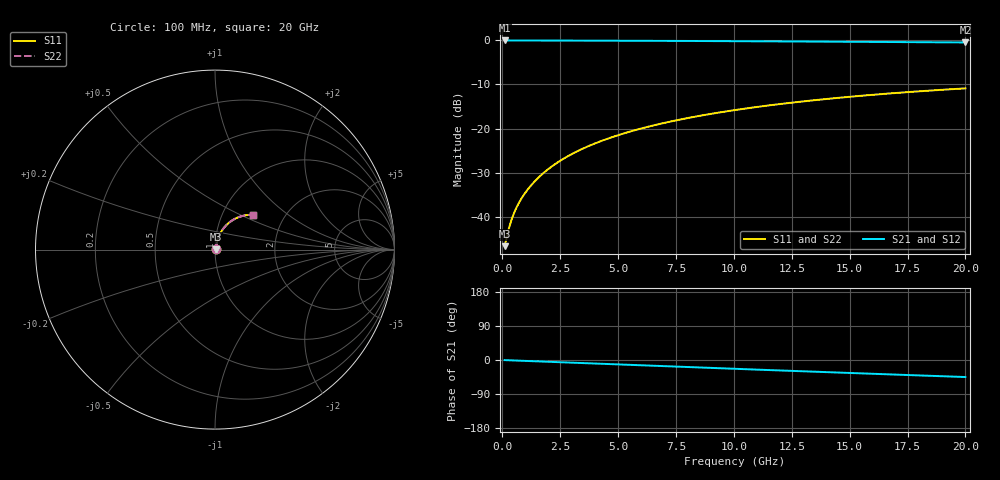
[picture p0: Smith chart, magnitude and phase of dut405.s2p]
! Touchstone file exported from HFSS 2026.1.0
!  File:  C:/ffzhzh/LocalFiles/Ansys_Project_Files/temp_train_BSMRDL_405_1783012418_51716.aedt
!  Generated:  01:15:04 AM Jul  3, 2026
!  Design:  BSMRDL
!  Project:  temp_train_BSMRDL_405_1783012418_51716
! Variables:
!  h_bsmrdl = 2.33um
!  h_ox = 20um
!  h_rdl = 5um
!  h_sub = 80um
!  h_tmrdl = 5um
!  h_tsv = 80um
!  h_via = 3um
!  l_bsmrdl = 717.49um
!  l_sub = 1117.49um
!  l_tmrdl = 200um
!  m_sub = 200um
!  pitch = 43.84um
!  r_tsv = 6um
!  s_tmrdl = 10um
!  w_bsmrdl = 28.73um
!  w_sub = 500um
!  w_tmrdl = 12um
!  x_tsv_center1 = 206um
!  x_tsv_center2 = 952.22um
!  x_tsv_center3 = 1164.22um
!  x_tsv_center4 = 1910.44um
!  x_tsv_center5 = 2122.44um
!  x_tsv_center6 = 2868.66um
# GHz S MA R 50.000000
! Terminal data exported
! Port[1] = BSM_RDL1_1_T1
! Port[2] = BSM_RDL1_1_T2
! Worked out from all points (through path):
!   200 points, 100 MHz to 20 GHz, reference 50 ohm
!   highest |S21| = -0.04 dB at 100 MHz (marker M1); lowest = -0.5 dB at 20 GHz (marker M2)
!   group delay of S21, straight-line fit = 6.25 ps
!   lowest |S11| = -46.6 dB at 100 MHz (marker M3), VSWR 1.01, Z = 50.4 + j0.212 ohm
!   |S11| at or under -10 dB: start of sweep to end of sweep
!   |S22| runs from -46.6 to -10.9 dB; largest |S21 - S12| = 5.3e-15
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0.1  0.004666 26.8  0.9958 -0.3  0.9958 -0.3  0.004666 26.8
! Gamma 0 0 0 0
! Port Impedance 50 0 50 0
0.3  0.007657 52.0  0.9953 -0.8  0.9953 -0.8  0.007657 52.0
0.4  0.009318 57.2  0.9951 -1.0  0.9951 -1.0  0.009318 57.2
0.5  0.01095 60.6  0.9948 -1.2  0.9948 -1.2  0.01096 60.6
0.6  0.01256 63.1  0.9946 -1.5  0.9946 -1.5  0.01256 63.1
0.8  0.01573 66.8  0.9942 -1.9  0.9942 -1.9  0.01573 66.8
1.1  0.02048 70.3  0.9938 -2.6  0.9938 -2.6  0.02048 70.3
1.3  0.02367 71.9  0.9936 -3.1  0.9936 -3.1  0.02368 71.9
1.6  0.02851 73.5  0.9934 -3.8  0.9934 -3.8  0.02852 73.5
2.1  0.03667 74.9  0.9929 -5.0  0.9929 -5.0  0.03667 74.9
2.7  0.04654 75.5  0.9924 -6.4  0.9924 -6.4  0.04654 75.5
3.5  0.05972 75.2  0.9914 -8.2  0.9914 -8.2  0.05972 75.2
4.2  0.0712 74.5  0.9905 -9.9  0.9905 -9.9  0.0712 74.5
5  0.08423 73.3  0.9892 -11.7  0.9892 -11.7  0.08423 73.3
5.9  0.09872 71.8  0.9875 -13.8  0.9875 -13.8  0.09872 71.8
6.8  0.113 70.1  0.9856 -15.9  0.9856 -15.9  0.113 70.1
8.3  0.1362 67.1  0.9821 -19.3  0.9821 -19.3  0.1362 67.1
10.1  0.163 63.4  0.9773 -23.4  0.9773 -23.4  0.163 63.3
11.7  0.1858 60.0  0.9725 -27.0  0.9725 -27.0  0.1858 59.9
13.4  0.2088 56.4  0.9672 -30.7  0.9672 -30.7  0.2088 56.3
16.7  0.2498 49.5  0.9564 -37.9  0.9564 -37.9  0.2498 49.4
20  0.2856 42.6  0.9455 -45.0  0.9455 -45.0  0.2856 42.5
